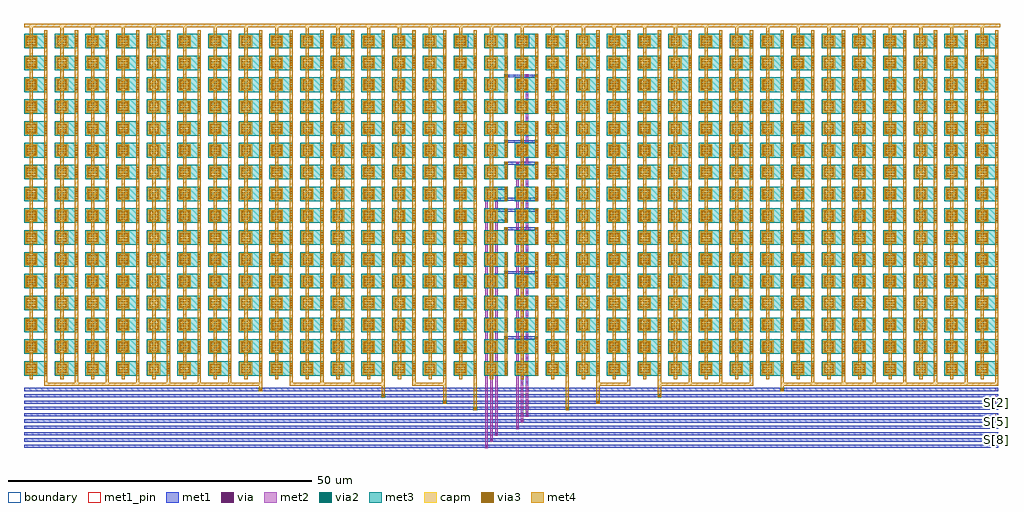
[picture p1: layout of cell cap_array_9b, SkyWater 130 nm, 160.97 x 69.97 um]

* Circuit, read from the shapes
.subckt cap_array_9b S[0] S[1] S[2] S[3] S[4] S[5] S[6] S[7] S[8] VCM
XC1 n1 S[0] sky130_fd_pr__cap_mim_m3_1 w=2 l=2 m=256
XC2 n1 S[1] sky130_fd_pr__cap_mim_m3_1 w=2 l=2 m=128
XC3 n1 S[2] sky130_fd_pr__cap_mim_m3_1 w=2 l=2 m=64
XC4 n1 S[3] sky130_fd_pr__cap_mim_m3_1 w=2 l=2 m=32
XC5 n1 S[4] sky130_fd_pr__cap_mim_m3_1 w=2 l=2 m=16
XC6 n1 S[5] sky130_fd_pr__cap_mim_m3_1 w=2 l=2 m=8
XC7 n1 S[6] sky130_fd_pr__cap_mim_m3_1 w=2 l=2 m=4
XC8 n1 S[7] sky130_fd_pr__cap_mim_m3_1 w=2 l=2 m=2
XC9 n1 VCM sky130_fd_pr__cap_mim_m3_1 w=2 l=2
XC10 n1 S[8] sky130_fd_pr__cap_mim_m3_1 w=2 l=2
.ends

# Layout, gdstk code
import gdstk
lib = gdstk.Library(unit=1e-6, precision=1e-09)
def R(c, l, rs):  # rectangles x0, y0, x1, y1
    for r in rs: c.add(gdstk.rectangle(r[:2], r[2:], *l))
def A(c, l, x, y, w, h, nx, ny, dx, dy):  # array of equal rectangles
    R(c, l, [(x+i*dx, y+j*dy, x+i*dx+w, y+j*dy+h) for i in range(nx) for j in range(ny)])
met1_pin = (68, 16)
met1 = (68, 20)
via = (68, 44)
met2 = (69, 20)
via2 = (69, 44)
met3 = (70, 20)
via3 = (70, 44)
met4 = (71, 20)
capm = (89, 44)
boundary = (235, 4)

sky130_fd_pr__cap_mim_m3 = lib.new_cell('sky130_fd_pr__cap_mim_m3_1_TE2UD4')
A(sky130_fd_pr__cap_mim_m3, met3, -37.35, -28.2, 3.86, 2.4, 15, 16, 5.06, 3.6)
A(sky130_fd_pr__cap_mim_m3, via3, -33.85, -27.9, 0.2, 0.2, 15, 5, 5.06, 0.4)
A(sky130_fd_pr__cap_mim_m3, via3, -36.85, -27.7, 0.2, 0.2, 4, 4, 0.4, 0.4)
A(sky130_fd_pr__cap_mim_m3, via3, -31.79, -27.7, 0.2, 0.2, 4, 4, 0.4, 0.4)
A(sky130_fd_pr__cap_mim_m3, via3, -26.73, -27.7, 0.2, 0.2, 4, 4, 0.4, 0.4)
A(sky130_fd_pr__cap_mim_m3, via3, -21.67, -27.7, 0.2, 0.2, 4, 4, 0.4, 0.4)
A(sky130_fd_pr__cap_mim_m3, via3, -16.61, -27.7, 0.2, 0.2, 4, 4, 0.4, 0.4)
A(sky130_fd_pr__cap_mim_m3, via3, -11.55, -27.7, 0.2, 0.2, 4, 4, 0.4, 0.4)
A(sky130_fd_pr__cap_mim_m3, via3, -6.49, -27.7, 0.2, 0.2, 4, 4, 0.4, 0.4)
A(sky130_fd_pr__cap_mim_m3, via3, -1.43, -27.7, 0.2, 0.2, 4, 4, 0.4, 0.4)
A(sky130_fd_pr__cap_mim_m3, via3, 3.63, -27.7, 0.2, 0.2, 4, 4, 0.4, 0.4)
A(sky130_fd_pr__cap_mim_m3, via3, 8.69, -27.7, 0.2, 0.2, 4, 4, 0.4, 0.4)
A(sky130_fd_pr__cap_mim_m3, via3, 13.75, -27.7, 0.2, 0.2, 4, 4, 0.4, 0.4)
A(sky130_fd_pr__cap_mim_m3, via3, 18.81, -27.7, 0.2, 0.2, 4, 4, 0.4, 0.4)
A(sky130_fd_pr__cap_mim_m3, via3, 23.87, -27.7, 0.2, 0.2, 4, 4, 0.4, 0.4)
A(sky130_fd_pr__cap_mim_m3, via3, 28.93, -27.7, 0.2, 0.2, 4, 4, 0.4, 0.4)
A(sky130_fd_pr__cap_mim_m3, via3, 33.99, -27.7, 0.2, 0.2, 4, 4, 0.4, 0.4)
A(sky130_fd_pr__cap_mim_m3, via3, -33.85, -24.3, 0.2, 0.2, 15, 5, 5.06, 0.4)
A(sky130_fd_pr__cap_mim_m3, via3, -36.85, -24.1, 0.2, 0.2, 4, 4, 0.4, 0.4)
A(sky130_fd_pr__cap_mim_m3, via3, -31.79, -24.1, 0.2, 0.2, 4, 4, 0.4, 0.4)
A(sky130_fd_pr__cap_mim_m3, via3, -26.73, -24.1, 0.2, 0.2, 4, 4, 0.4, 0.4)
A(sky130_fd_pr__cap_mim_m3, via3, -21.67, -24.1, 0.2, 0.2, 4, 4, 0.4, 0.4)
A(sky130_fd_pr__cap_mim_m3, via3, -16.61, -24.1, 0.2, 0.2, 4, 4, 0.4, 0.4)
A(sky130_fd_pr__cap_mim_m3, via3, -11.55, -24.1, 0.2, 0.2, 4, 4, 0.4, 0.4)
A(sky130_fd_pr__cap_mim_m3, via3, -6.49, -24.1, 0.2, 0.2, 4, 4, 0.4, 0.4)
A(sky130_fd_pr__cap_mim_m3, via3, -1.43, -24.1, 0.2, 0.2, 4, 4, 0.4, 0.4)
A(sky130_fd_pr__cap_mim_m3, via3, 3.63, -24.1, 0.2, 0.2, 4, 4, 0.4, 0.4)
A(sky130_fd_pr__cap_mim_m3, via3, 8.69, -24.1, 0.2, 0.2, 4, 4, 0.4, 0.4)
A(sky130_fd_pr__cap_mim_m3, via3, 13.75, -24.1, 0.2, 0.2, 4, 4, 0.4, 0.4)
A(sky130_fd_pr__cap_mim_m3, via3, 18.81, -24.1, 0.2, 0.2, 4, 4, 0.4, 0.4)
A(sky130_fd_pr__cap_mim_m3, via3, 23.87, -24.1, 0.2, 0.2, 4, 4, 0.4, 0.4)
A(sky130_fd_pr__cap_mim_m3, via3, 28.93, -24.1, 0.2, 0.2, 4, 4, 0.4, 0.4)
A(sky130_fd_pr__cap_mim_m3, via3, 33.99, -24.1, 0.2, 0.2, 4, 4, 0.4, 0.4)
A(sky130_fd_pr__cap_mim_m3, via3, -33.85, -20.7, 0.2, 0.2, 15, 5, 5.06, 0.4)
A(sky130_fd_pr__cap_mim_m3, via3, -36.85, -20.5, 0.2, 0.2, 4, 4, 0.4, 0.4)
A(sky130_fd_pr__cap_mim_m3, via3, -31.79, -20.5, 0.2, 0.2, 4, 4, 0.4, 0.4)
A(sky130_fd_pr__cap_mim_m3, via3, -26.73, -20.5, 0.2, 0.2, 4, 4, 0.4, 0.4)
A(sky130_fd_pr__cap_mim_m3, via3, -21.67, -20.5, 0.2, 0.2, 4, 4, 0.4, 0.4)
A(sky130_fd_pr__cap_mim_m3, via3, -16.61, -20.5, 0.2, 0.2, 4, 4, 0.4, 0.4)
A(sky130_fd_pr__cap_mim_m3, via3, -11.55, -20.5, 0.2, 0.2, 4, 4, 0.4, 0.4)
A(sky130_fd_pr__cap_mim_m3, via3, -6.49, -20.5, 0.2, 0.2, 4, 4, 0.4, 0.4)
A(sky130_fd_pr__cap_mim_m3, via3, -1.43, -20.5, 0.2, 0.2, 4, 4, 0.4, 0.4)
A(sky130_fd_pr__cap_mim_m3, via3, 3.63, -20.5, 0.2, 0.2, 4, 4, 0.4, 0.4)
A(sky130_fd_pr__cap_mim_m3, via3, 8.69, -20.5, 0.2, 0.2, 4, 4, 0.4, 0.4)
A(sky130_fd_pr__cap_mim_m3, via3, 13.75, -20.5, 0.2, 0.2, 4, 4, 0.4, 0.4)
A(sky130_fd_pr__cap_mim_m3, via3, 18.81, -20.5, 0.2, 0.2, 4, 4, 0.4, 0.4)
A(sky130_fd_pr__cap_mim_m3, via3, 23.87, -20.5, 0.2, 0.2, 4, 4, 0.4, 0.4)
A(sky130_fd_pr__cap_mim_m3, via3, 28.93, -20.5, 0.2, 0.2, 4, 4, 0.4, 0.4)
A(sky130_fd_pr__cap_mim_m3, via3, 33.99, -20.5, 0.2, 0.2, 4, 4, 0.4, 0.4)
A(sky130_fd_pr__cap_mim_m3, via3, -33.85, -17.1, 0.2, 0.2, 15, 5, 5.06, 0.4)
A(sky130_fd_pr__cap_mim_m3, via3, -36.85, -16.9, 0.2, 0.2, 4, 4, 0.4, 0.4)
A(sky130_fd_pr__cap_mim_m3, via3, -31.79, -16.9, 0.2, 0.2, 4, 4, 0.4, 0.4)
A(sky130_fd_pr__cap_mim_m3, via3, -26.73, -16.9, 0.2, 0.2, 4, 4, 0.4, 0.4)
A(sky130_fd_pr__cap_mim_m3, via3, -21.67, -16.9, 0.2, 0.2, 4, 4, 0.4, 0.4)
A(sky130_fd_pr__cap_mim_m3, via3, -16.61, -16.9, 0.2, 0.2, 4, 4, 0.4, 0.4)
A(sky130_fd_pr__cap_mim_m3, via3, -11.55, -16.9, 0.2, 0.2, 4, 4, 0.4, 0.4)
A(sky130_fd_pr__cap_mim_m3, via3, -6.49, -16.9, 0.2, 0.2, 4, 4, 0.4, 0.4)
A(sky130_fd_pr__cap_mim_m3, via3, -1.43, -16.9, 0.2, 0.2, 4, 4, 0.4, 0.4)
A(sky130_fd_pr__cap_mim_m3, via3, 3.63, -16.9, 0.2, 0.2, 4, 4, 0.4, 0.4)
A(sky130_fd_pr__cap_mim_m3, via3, 8.69, -16.9, 0.2, 0.2, 4, 4, 0.4, 0.4)
A(sky130_fd_pr__cap_mim_m3, via3, 13.75, -16.9, 0.2, 0.2, 4, 4, 0.4, 0.4)
A(sky130_fd_pr__cap_mim_m3, via3, 18.81, -16.9, 0.2, 0.2, 4, 4, 0.4, 0.4)
A(sky130_fd_pr__cap_mim_m3, via3, 23.87, -16.9, 0.2, 0.2, 4, 4, 0.4, 0.4)
A(sky130_fd_pr__cap_mim_m3, via3, 28.93, -16.9, 0.2, 0.2, 4, 4, 0.4, 0.4)
A(sky130_fd_pr__cap_mim_m3, via3, 33.99, -16.9, 0.2, 0.2, 4, 4, 0.4, 0.4)
A(sky130_fd_pr__cap_mim_m3, via3, -33.85, -13.5, 0.2, 0.2, 15, 5, 5.06, 0.4)
A(sky130_fd_pr__cap_mim_m3, via3, -36.85, -13.3, 0.2, 0.2, 4, 4, 0.4, 0.4)
A(sky130_fd_pr__cap_mim_m3, via3, -31.79, -13.3, 0.2, 0.2, 4, 4, 0.4, 0.4)
A(sky130_fd_pr__cap_mim_m3, via3, -26.73, -13.3, 0.2, 0.2, 4, 4, 0.4, 0.4)
A(sky130_fd_pr__cap_mim_m3, via3, -21.67, -13.3, 0.2, 0.2, 4, 4, 0.4, 0.4)
A(sky130_fd_pr__cap_mim_m3, via3, -16.61, -13.3, 0.2, 0.2, 4, 4, 0.4, 0.4)
A(sky130_fd_pr__cap_mim_m3, via3, -11.55, -13.3, 0.2, 0.2, 4, 4, 0.4, 0.4)
A(sky130_fd_pr__cap_mim_m3, via3, -6.49, -13.3, 0.2, 0.2, 4, 4, 0.4, 0.4)
A(sky130_fd_pr__cap_mim_m3, via3, -1.43, -13.3, 0.2, 0.2, 4, 4, 0.4, 0.4)
A(sky130_fd_pr__cap_mim_m3, via3, 3.63, -13.3, 0.2, 0.2, 4, 4, 0.4, 0.4)
A(sky130_fd_pr__cap_mim_m3, via3, 8.69, -13.3, 0.2, 0.2, 4, 4, 0.4, 0.4)
A(sky130_fd_pr__cap_mim_m3, via3, 13.75, -13.3, 0.2, 0.2, 4, 4, 0.4, 0.4)
A(sky130_fd_pr__cap_mim_m3, via3, 18.81, -13.3, 0.2, 0.2, 4, 4, 0.4, 0.4)
A(sky130_fd_pr__cap_mim_m3, via3, 23.87, -13.3, 0.2, 0.2, 4, 4, 0.4, 0.4)
A(sky130_fd_pr__cap_mim_m3, via3, 28.93, -13.3, 0.2, 0.2, 4, 4, 0.4, 0.4)
A(sky130_fd_pr__cap_mim_m3, via3, 33.99, -13.3, 0.2, 0.2, 4, 4, 0.4, 0.4)
A(sky130_fd_pr__cap_mim_m3, via3, -33.85, -9.9, 0.2, 0.2, 15, 5, 5.06, 0.4)
A(sky130_fd_pr__cap_mim_m3, via3, -36.85, -9.7, 0.2, 0.2, 4, 4, 0.4, 0.4)
A(sky130_fd_pr__cap_mim_m3, via3, -31.79, -9.7, 0.2, 0.2, 4, 4, 0.4, 0.4)
A(sky130_fd_pr__cap_mim_m3, via3, -26.73, -9.7, 0.2, 0.2, 4, 4, 0.4, 0.4)
A(sky130_fd_pr__cap_mim_m3, via3, -21.67, -9.7, 0.2, 0.2, 4, 4, 0.4, 0.4)
A(sky130_fd_pr__cap_mim_m3, via3, -16.61, -9.7, 0.2, 0.2, 4, 4, 0.4, 0.4)
A(sky130_fd_pr__cap_mim_m3, via3, -11.55, -9.7, 0.2, 0.2, 4, 4, 0.4, 0.4)
A(sky130_fd_pr__cap_mim_m3, via3, -6.49, -9.7, 0.2, 0.2, 4, 4, 0.4, 0.4)
A(sky130_fd_pr__cap_mim_m3, via3, -1.43, -9.7, 0.2, 0.2, 4, 4, 0.4, 0.4)
A(sky130_fd_pr__cap_mim_m3, via3, 3.63, -9.7, 0.2, 0.2, 4, 4, 0.4, 0.4)
A(sky130_fd_pr__cap_mim_m3, via3, 8.69, -9.7, 0.2, 0.2, 4, 4, 0.4, 0.4)
A(sky130_fd_pr__cap_mim_m3, via3, 13.75, -9.7, 0.2, 0.2, 4, 4, 0.4, 0.4)
A(sky130_fd_pr__cap_mim_m3, via3, 18.81, -9.7, 0.2, 0.2, 4, 4, 0.4, 0.4)
A(sky130_fd_pr__cap_mim_m3, via3, 23.87, -9.7, 0.2, 0.2, 4, 4, 0.4, 0.4)
A(sky130_fd_pr__cap_mim_m3, via3, 28.93, -9.7, 0.2, 0.2, 4, 4, 0.4, 0.4)
A(sky130_fd_pr__cap_mim_m3, via3, 33.99, -9.7, 0.2, 0.2, 4, 4, 0.4, 0.4)
A(sky130_fd_pr__cap_mim_m3, via3, -33.85, -6.3, 0.2, 0.2, 15, 5, 5.06, 0.4)
A(sky130_fd_pr__cap_mim_m3, via3, -36.85, -6.1, 0.2, 0.2, 4, 4, 0.4, 0.4)
A(sky130_fd_pr__cap_mim_m3, via3, -31.79, -6.1, 0.2, 0.2, 4, 4, 0.4, 0.4)
A(sky130_fd_pr__cap_mim_m3, via3, -26.73, -6.1, 0.2, 0.2, 4, 4, 0.4, 0.4)
A(sky130_fd_pr__cap_mim_m3, via3, -21.67, -6.1, 0.2, 0.2, 4, 4, 0.4, 0.4)
A(sky130_fd_pr__cap_mim_m3, via3, -16.61, -6.1, 0.2, 0.2, 4, 4, 0.4, 0.4)
A(sky130_fd_pr__cap_mim_m3, via3, -11.55, -6.1, 0.2, 0.2, 4, 4, 0.4, 0.4)
A(sky130_fd_pr__cap_mim_m3, via3, -6.49, -6.1, 0.2, 0.2, 4, 4, 0.4, 0.4)
A(sky130_fd_pr__cap_mim_m3, via3, -1.43, -6.1, 0.2, 0.2, 4, 4, 0.4, 0.4)
A(sky130_fd_pr__cap_mim_m3, via3, 3.63, -6.1, 0.2, 0.2, 4, 4, 0.4, 0.4)
A(sky130_fd_pr__cap_mim_m3, via3, 8.69, -6.1, 0.2, 0.2, 4, 4, 0.4, 0.4)
A(sky130_fd_pr__cap_mim_m3, via3, 13.75, -6.1, 0.2, 0.2, 4, 4, 0.4, 0.4)
A(sky130_fd_pr__cap_mim_m3, via3, 18.81, -6.1, 0.2, 0.2, 4, 4, 0.4, 0.4)
A(sky130_fd_pr__cap_mim_m3, via3, 23.87, -6.1, 0.2, 0.2, 4, 4, 0.4, 0.4)
A(sky130_fd_pr__cap_mim_m3, via3, 28.93, -6.1, 0.2, 0.2, 4, 4, 0.4, 0.4)
A(sky130_fd_pr__cap_mim_m3, via3, 33.99, -6.1, 0.2, 0.2, 4, 4, 0.4, 0.4)
A(sky130_fd_pr__cap_mim_m3, via3, -33.85, -2.7, 0.2, 0.2, 15, 5, 5.06, 0.4)
A(sky130_fd_pr__cap_mim_m3, via3, -36.85, -2.5, 0.2, 0.2, 4, 4, 0.4, 0.4)
A(sky130_fd_pr__cap_mim_m3, via3, -31.79, -2.5, 0.2, 0.2, 4, 4, 0.4, 0.4)
A(sky130_fd_pr__cap_mim_m3, via3, -26.73, -2.5, 0.2, 0.2, 4, 4, 0.4, 0.4)
A(sky130_fd_pr__cap_mim_m3, via3, -21.67, -2.5, 0.2, 0.2, 4, 4, 0.4, 0.4)
A(sky130_fd_pr__cap_mim_m3, via3, -16.61, -2.5, 0.2, 0.2, 4, 4, 0.4, 0.4)
A(sky130_fd_pr__cap_mim_m3, via3, -11.55, -2.5, 0.2, 0.2, 4, 4, 0.4, 0.4)
A(sky130_fd_pr__cap_mim_m3, via3, -6.49, -2.5, 0.2, 0.2, 4, 4, 0.4, 0.4)
A(sky130_fd_pr__cap_mim_m3, via3, -1.43, -2.5, 0.2, 0.2, 4, 4, 0.4, 0.4)
A(sky130_fd_pr__cap_mim_m3, via3, 3.63, -2.5, 0.2, 0.2, 4, 4, 0.4, 0.4)
A(sky130_fd_pr__cap_mim_m3, via3, 8.69, -2.5, 0.2, 0.2, 4, 4, 0.4, 0.4)
A(sky130_fd_pr__cap_mim_m3, via3, 13.75, -2.5, 0.2, 0.2, 4, 4, 0.4, 0.4)
A(sky130_fd_pr__cap_mim_m3, via3, 18.81, -2.5, 0.2, 0.2, 4, 4, 0.4, 0.4)
A(sky130_fd_pr__cap_mim_m3, via3, 23.87, -2.5, 0.2, 0.2, 4, 4, 0.4, 0.4)
A(sky130_fd_pr__cap_mim_m3, via3, 28.93, -2.5, 0.2, 0.2, 4, 4, 0.4, 0.4)
A(sky130_fd_pr__cap_mim_m3, via3, 33.99, -2.5, 0.2, 0.2, 4, 4, 0.4, 0.4)
A(sky130_fd_pr__cap_mim_m3, via3, -33.85, 0.9, 0.2, 0.2, 15, 5, 5.06, 0.4)
A(sky130_fd_pr__cap_mim_m3, via3, -36.85, 1.1, 0.2, 0.2, 4, 4, 0.4, 0.4)
A(sky130_fd_pr__cap_mim_m3, via3, -31.79, 1.1, 0.2, 0.2, 4, 4, 0.4, 0.4)
A(sky130_fd_pr__cap_mim_m3, via3, -26.73, 1.1, 0.2, 0.2, 4, 4, 0.4, 0.4)
A(sky130_fd_pr__cap_mim_m3, via3, -21.67, 1.1, 0.2, 0.2, 4, 4, 0.4, 0.4)
A(sky130_fd_pr__cap_mim_m3, via3, -16.61, 1.1, 0.2, 0.2, 4, 4, 0.4, 0.4)
A(sky130_fd_pr__cap_mim_m3, via3, -11.55, 1.1, 0.2, 0.2, 4, 4, 0.4, 0.4)
A(sky130_fd_pr__cap_mim_m3, via3, -6.49, 1.1, 0.2, 0.2, 4, 4, 0.4, 0.4)
A(sky130_fd_pr__cap_mim_m3, via3, -1.43, 1.1, 0.2, 0.2, 4, 4, 0.4, 0.4)
A(sky130_fd_pr__cap_mim_m3, via3, 3.63, 1.1, 0.2, 0.2, 4, 4, 0.4, 0.4)
A(sky130_fd_pr__cap_mim_m3, via3, 8.69, 1.1, 0.2, 0.2, 4, 4, 0.4, 0.4)
A(sky130_fd_pr__cap_mim_m3, via3, 13.75, 1.1, 0.2, 0.2, 4, 4, 0.4, 0.4)
A(sky130_fd_pr__cap_mim_m3, via3, 18.81, 1.1, 0.2, 0.2, 4, 4, 0.4, 0.4)
A(sky130_fd_pr__cap_mim_m3, via3, 23.87, 1.1, 0.2, 0.2, 4, 4, 0.4, 0.4)
A(sky130_fd_pr__cap_mim_m3, via3, 28.93, 1.1, 0.2, 0.2, 4, 4, 0.4, 0.4)
A(sky130_fd_pr__cap_mim_m3, via3, 33.99, 1.1, 0.2, 0.2, 4, 4, 0.4, 0.4)
A(sky130_fd_pr__cap_mim_m3, via3, -33.85, 4.5, 0.2, 0.2, 15, 5, 5.06, 0.4)
A(sky130_fd_pr__cap_mim_m3, via3, -36.85, 4.7, 0.2, 0.2, 4, 4, 0.4, 0.4)
A(sky130_fd_pr__cap_mim_m3, via3, -31.79, 4.7, 0.2, 0.2, 4, 4, 0.4, 0.4)
A(sky130_fd_pr__cap_mim_m3, via3, -26.73, 4.7, 0.2, 0.2, 4, 4, 0.4, 0.4)
A(sky130_fd_pr__cap_mim_m3, via3, -21.67, 4.7, 0.2, 0.2, 4, 4, 0.4, 0.4)
A(sky130_fd_pr__cap_mim_m3, via3, -16.61, 4.7, 0.2, 0.2, 4, 4, 0.4, 0.4)
A(sky130_fd_pr__cap_mim_m3, via3, -11.55, 4.7, 0.2, 0.2, 4, 4, 0.4, 0.4)
A(sky130_fd_pr__cap_mim_m3, via3, -6.49, 4.7, 0.2, 0.2, 4, 4, 0.4, 0.4)
A(sky130_fd_pr__cap_mim_m3, via3, -1.43, 4.7, 0.2, 0.2, 4, 4, 0.4, 0.4)
A(sky130_fd_pr__cap_mim_m3, via3, 3.63, 4.7, 0.2, 0.2, 4, 4, 0.4, 0.4)
A(sky130_fd_pr__cap_mim_m3, via3, 8.69, 4.7, 0.2, 0.2, 4, 4, 0.4, 0.4)
A(sky130_fd_pr__cap_mim_m3, via3, 13.75, 4.7, 0.2, 0.2, 4, 4, 0.4, 0.4)
A(sky130_fd_pr__cap_mim_m3, via3, 18.81, 4.7, 0.2, 0.2, 4, 4, 0.4, 0.4)
A(sky130_fd_pr__cap_mim_m3, via3, 23.87, 4.7, 0.2, 0.2, 4, 4, 0.4, 0.4)
A(sky130_fd_pr__cap_mim_m3, via3, 28.93, 4.7, 0.2, 0.2, 4, 4, 0.4, 0.4)
A(sky130_fd_pr__cap_mim_m3, via3, 33.99, 4.7, 0.2, 0.2, 4, 4, 0.4, 0.4)
A(sky130_fd_pr__cap_mim_m3, via3, -33.85, 8.1, 0.2, 0.2, 15, 5, 5.06, 0.4)
A(sky130_fd_pr__cap_mim_m3, via3, -36.85, 8.3, 0.2, 0.2, 4, 4, 0.4, 0.4)
A(sky130_fd_pr__cap_mim_m3, via3, -31.79, 8.3, 0.2, 0.2, 4, 4, 0.4, 0.4)
A(sky130_fd_pr__cap_mim_m3, via3, -26.73, 8.3, 0.2, 0.2, 4, 4, 0.4, 0.4)
A(sky130_fd_pr__cap_mim_m3, via3, -21.67, 8.3, 0.2, 0.2, 4, 4, 0.4, 0.4)
A(sky130_fd_pr__cap_mim_m3, via3, -16.61, 8.3, 0.2, 0.2, 4, 4, 0.4, 0.4)
A(sky130_fd_pr__cap_mim_m3, via3, -11.55, 8.3, 0.2, 0.2, 4, 4, 0.4, 0.4)
A(sky130_fd_pr__cap_mim_m3, via3, -6.49, 8.3, 0.2, 0.2, 4, 4, 0.4, 0.4)
A(sky130_fd_pr__cap_mim_m3, via3, -1.43, 8.3, 0.2, 0.2, 4, 4, 0.4, 0.4)
A(sky130_fd_pr__cap_mim_m3, via3, 3.63, 8.3, 0.2, 0.2, 4, 4, 0.4, 0.4)
A(sky130_fd_pr__cap_mim_m3, via3, 8.69, 8.3, 0.2, 0.2, 4, 4, 0.4, 0.4)
A(sky130_fd_pr__cap_mim_m3, via3, 13.75, 8.3, 0.2, 0.2, 4, 4, 0.4, 0.4)
A(sky130_fd_pr__cap_mim_m3, via3, 18.81, 8.3, 0.2, 0.2, 4, 4, 0.4, 0.4)
A(sky130_fd_pr__cap_mim_m3, via3, 23.87, 8.3, 0.2, 0.2, 4, 4, 0.4, 0.4)
A(sky130_fd_pr__cap_mim_m3, via3, 28.93, 8.3, 0.2, 0.2, 4, 4, 0.4, 0.4)
A(sky130_fd_pr__cap_mim_m3, via3, 33.99, 8.3, 0.2, 0.2, 4, 4, 0.4, 0.4)
A(sky130_fd_pr__cap_mim_m3, via3, -33.85, 11.7, 0.2, 0.2, 15, 5, 5.06, 0.4)
A(sky130_fd_pr__cap_mim_m3, via3, -36.85, 11.9, 0.2, 0.2, 4, 4, 0.4, 0.4)
A(sky130_fd_pr__cap_mim_m3, via3, -31.79, 11.9, 0.2, 0.2, 4, 4, 0.4, 0.4)
A(sky130_fd_pr__cap_mim_m3, via3, -26.73, 11.9, 0.2, 0.2, 4, 4, 0.4, 0.4)
A(sky130_fd_pr__cap_mim_m3, via3, -21.67, 11.9, 0.2, 0.2, 4, 4, 0.4, 0.4)
A(sky130_fd_pr__cap_mim_m3, via3, -16.61, 11.9, 0.2, 0.2, 4, 4, 0.4, 0.4)
A(sky130_fd_pr__cap_mim_m3, via3, -11.55, 11.9, 0.2, 0.2, 4, 4, 0.4, 0.4)
A(sky130_fd_pr__cap_mim_m3, via3, -6.49, 11.9, 0.2, 0.2, 4, 4, 0.4, 0.4)
A(sky130_fd_pr__cap_mim_m3, via3, -1.43, 11.9, 0.2, 0.2, 4, 4, 0.4, 0.4)
A(sky130_fd_pr__cap_mim_m3, via3, 3.63, 11.9, 0.2, 0.2, 4, 4, 0.4, 0.4)
A(sky130_fd_pr__cap_mim_m3, via3, 8.69, 11.9, 0.2, 0.2, 4, 4, 0.4, 0.4)
A(sky130_fd_pr__cap_mim_m3, via3, 13.75, 11.9, 0.2, 0.2, 4, 4, 0.4, 0.4)
A(sky130_fd_pr__cap_mim_m3, via3, 18.81, 11.9, 0.2, 0.2, 4, 4, 0.4, 0.4)
A(sky130_fd_pr__cap_mim_m3, via3, 23.87, 11.9, 0.2, 0.2, 4, 4, 0.4, 0.4)
A(sky130_fd_pr__cap_mim_m3, via3, 28.93, 11.9, 0.2, 0.2, 4, 4, 0.4, 0.4)
A(sky130_fd_pr__cap_mim_m3, via3, 33.99, 11.9, 0.2, 0.2, 4, 4, 0.4, 0.4)
A(sky130_fd_pr__cap_mim_m3, via3, -33.85, 15.3, 0.2, 0.2, 15, 5, 5.06, 0.4)
A(sky130_fd_pr__cap_mim_m3, via3, -36.85, 15.5, 0.2, 0.2, 4, 4, 0.4, 0.4)
A(sky130_fd_pr__cap_mim_m3, via3, -31.79, 15.5, 0.2, 0.2, 4, 4, 0.4, 0.4)
A(sky130_fd_pr__cap_mim_m3, via3, -26.73, 15.5, 0.2, 0.2, 4, 4, 0.4, 0.4)
A(sky130_fd_pr__cap_mim_m3, via3, -21.67, 15.5, 0.2, 0.2, 4, 4, 0.4, 0.4)
A(sky130_fd_pr__cap_mim_m3, via3, -16.61, 15.5, 0.2, 0.2, 4, 4, 0.4, 0.4)
A(sky130_fd_pr__cap_mim_m3, via3, -11.55, 15.5, 0.2, 0.2, 4, 4, 0.4, 0.4)
A(sky130_fd_pr__cap_mim_m3, via3, -6.49, 15.5, 0.2, 0.2, 4, 4, 0.4, 0.4)
A(sky130_fd_pr__cap_mim_m3, via3, -1.43, 15.5, 0.2, 0.2, 4, 4, 0.4, 0.4)
A(sky130_fd_pr__cap_mim_m3, via3, 3.63, 15.5, 0.2, 0.2, 4, 4, 0.4, 0.4)
A(sky130_fd_pr__cap_mim_m3, via3, 8.69, 15.5, 0.2, 0.2, 4, 4, 0.4, 0.4)
A(sky130_fd_pr__cap_mim_m3, via3, 13.75, 15.5, 0.2, 0.2, 4, 4, 0.4, 0.4)
A(sky130_fd_pr__cap_mim_m3, via3, 18.81, 15.5, 0.2, 0.2, 4, 4, 0.4, 0.4)
A(sky130_fd_pr__cap_mim_m3, via3, 23.87, 15.5, 0.2, 0.2, 4, 4, 0.4, 0.4)
A(sky130_fd_pr__cap_mim_m3, via3, 28.93, 15.5, 0.2, 0.2, 4, 4, 0.4, 0.4)
A(sky130_fd_pr__cap_mim_m3, via3, 33.99, 15.5, 0.2, 0.2, 4, 4, 0.4, 0.4)
A(sky130_fd_pr__cap_mim_m3, via3, -33.85, 18.9, 0.2, 0.2, 15, 5, 5.06, 0.4)
A(sky130_fd_pr__cap_mim_m3, via3, -36.85, 19.1, 0.2, 0.2, 4, 4, 0.4, 0.4)
A(sky130_fd_pr__cap_mim_m3, via3, -31.79, 19.1, 0.2, 0.2, 4, 4, 0.4, 0.4)
A(sky130_fd_pr__cap_mim_m3, via3, -26.73, 19.1, 0.2, 0.2, 4, 4, 0.4, 0.4)
A(sky130_fd_pr__cap_mim_m3, via3, -21.67, 19.1, 0.2, 0.2, 4, 4, 0.4, 0.4)
A(sky130_fd_pr__cap_mim_m3, via3, -16.61, 19.1, 0.2, 0.2, 4, 4, 0.4, 0.4)
A(sky130_fd_pr__cap_mim_m3, via3, -11.55, 19.1, 0.2, 0.2, 4, 4, 0.4, 0.4)
A(sky130_fd_pr__cap_mim_m3, via3, -6.49, 19.1, 0.2, 0.2, 4, 4, 0.4, 0.4)
A(sky130_fd_pr__cap_mim_m3, via3, -1.43, 19.1, 0.2, 0.2, 4, 4, 0.4, 0.4)
A(sky130_fd_pr__cap_mim_m3, via3, 3.63, 19.1, 0.2, 0.2, 4, 4, 0.4, 0.4)
A(sky130_fd_pr__cap_mim_m3, via3, 8.69, 19.1, 0.2, 0.2, 4, 4, 0.4, 0.4)
A(sky130_fd_pr__cap_mim_m3, via3, 13.75, 19.1, 0.2, 0.2, 4, 4, 0.4, 0.4)
A(sky130_fd_pr__cap_mim_m3, via3, 18.81, 19.1, 0.2, 0.2, 4, 4, 0.4, 0.4)
A(sky130_fd_pr__cap_mim_m3, via3, 23.87, 19.1, 0.2, 0.2, 4, 4, 0.4, 0.4)
A(sky130_fd_pr__cap_mim_m3, via3, 28.93, 19.1, 0.2, 0.2, 4, 4, 0.4, 0.4)
A(sky130_fd_pr__cap_mim_m3, via3, 33.99, 19.1, 0.2, 0.2, 4, 4, 0.4, 0.4)
A(sky130_fd_pr__cap_mim_m3, via3, -33.85, 22.5, 0.2, 0.2, 15, 5, 5.06, 0.4)
A(sky130_fd_pr__cap_mim_m3, via3, -36.85, 22.7, 0.2, 0.2, 4, 4, 0.4, 0.4)
A(sky130_fd_pr__cap_mim_m3, via3, -31.79, 22.7, 0.2, 0.2, 4, 4, 0.4, 0.4)
A(sky130_fd_pr__cap_mim_m3, via3, -26.73, 22.7, 0.2, 0.2, 4, 4, 0.4, 0.4)
A(sky130_fd_pr__cap_mim_m3, via3, -21.67, 22.7, 0.2, 0.2, 4, 4, 0.4, 0.4)
A(sky130_fd_pr__cap_mim_m3, via3, -16.61, 22.7, 0.2, 0.2, 4, 4, 0.4, 0.4)
A(sky130_fd_pr__cap_mim_m3, via3, -11.55, 22.7, 0.2, 0.2, 4, 4, 0.4, 0.4)
A(sky130_fd_pr__cap_mim_m3, via3, -6.49, 22.7, 0.2, 0.2, 4, 4, 0.4, 0.4)
A(sky130_fd_pr__cap_mim_m3, via3, -1.43, 22.7, 0.2, 0.2, 4, 4, 0.4, 0.4)
A(sky130_fd_pr__cap_mim_m3, via3, 3.63, 22.7, 0.2, 0.2, 4, 4, 0.4, 0.4)
A(sky130_fd_pr__cap_mim_m3, via3, 8.69, 22.7, 0.2, 0.2, 4, 4, 0.4, 0.4)
A(sky130_fd_pr__cap_mim_m3, via3, 13.75, 22.7, 0.2, 0.2, 4, 4, 0.4, 0.4)
A(sky130_fd_pr__cap_mim_m3, via3, 18.81, 22.7, 0.2, 0.2, 4, 4, 0.4, 0.4)
A(sky130_fd_pr__cap_mim_m3, via3, 23.87, 22.7, 0.2, 0.2, 4, 4, 0.4, 0.4)
A(sky130_fd_pr__cap_mim_m3, via3, 28.93, 22.7, 0.2, 0.2, 4, 4, 0.4, 0.4)
A(sky130_fd_pr__cap_mim_m3, via3, 33.99, 22.7, 0.2, 0.2, 4, 4, 0.4, 0.4)
A(sky130_fd_pr__cap_mim_m3, via3, -33.85, 26.1, 0.2, 0.2, 15, 5, 5.06, 0.4)
A(sky130_fd_pr__cap_mim_m3, via3, -36.85, 26.3, 0.2, 0.2, 4, 4, 0.4, 0.4)
A(sky130_fd_pr__cap_mim_m3, via3, -31.79, 26.3, 0.2, 0.2, 4, 4, 0.4, 0.4)
A(sky130_fd_pr__cap_mim_m3, via3, -26.73, 26.3, 0.2, 0.2, 4, 4, 0.4, 0.4)
A(sky130_fd_pr__cap_mim_m3, via3, -21.67, 26.3, 0.2, 0.2, 4, 4, 0.4, 0.4)
A(sky130_fd_pr__cap_mim_m3, via3, -16.61, 26.3, 0.2, 0.2, 4, 4, 0.4, 0.4)
A(sky130_fd_pr__cap_mim_m3, via3, -11.55, 26.3, 0.2, 0.2, 4, 4, 0.4, 0.4)
A(sky130_fd_pr__cap_mim_m3, via3, -6.49, 26.3, 0.2, 0.2, 4, 4, 0.4, 0.4)
A(sky130_fd_pr__cap_mim_m3, via3, -1.43, 26.3, 0.2, 0.2, 4, 4, 0.4, 0.4)
A(sky130_fd_pr__cap_mim_m3, via3, 3.63, 26.3, 0.2, 0.2, 4, 4, 0.4, 0.4)
A(sky130_fd_pr__cap_mim_m3, via3, 8.69, 26.3, 0.2, 0.2, 4, 4, 0.4, 0.4)
A(sky130_fd_pr__cap_mim_m3, via3, 13.75, 26.3, 0.2, 0.2, 4, 4, 0.4, 0.4)
A(sky130_fd_pr__cap_mim_m3, via3, 18.81, 26.3, 0.2, 0.2, 4, 4, 0.4, 0.4)
A(sky130_fd_pr__cap_mim_m3, via3, 23.87, 26.3, 0.2, 0.2, 4, 4, 0.4, 0.4)
A(sky130_fd_pr__cap_mim_m3, via3, 28.93, 26.3, 0.2, 0.2, 4, 4, 0.4, 0.4)
A(sky130_fd_pr__cap_mim_m3, via3, 33.99, 26.3, 0.2, 0.2, 4, 4, 0.4, 0.4)
A(sky130_fd_pr__cap_mim_m3, met4, -36.41, -28.8, 0.52, 0.995, 15, 2, 5.06, 56.605)
A(sky130_fd_pr__cap_mim_m3, met4, -34.01, -28.8, 0.52, 57.6, 15, 1, 5.06, 0)
A(sky130_fd_pr__cap_mim_m3, met4, -36.955, -27.805, 1.61, 1.61, 15, 16, 5.06, 3.6)
A(sky130_fd_pr__cap_mim_m3, met4, -36.41, -26.195, 0.52, 1.99, 15, 15, 5.06, 3.6)
A(sky130_fd_pr__cap_mim_m3, capm, -37.15, -28, 2, 2, 15, 16, 5.06, 3.6)
R(sky130_fd_pr__cap_mim_m3, boundary, [(33.49,25.8,35.89,28.2)])

c_sky130_fd_pr__cap_mim_m3 = lib.new_cell('sky130_fd_pr__cap_mim_m3_1_NLQ4WR')
A(c_sky130_fd_pr__cap_mim_m3, met3, -4.46, -28.2, 3.86, 2.4, 1, 16, 0, 3.6)
A(c_sky130_fd_pr__cap_mim_m3, met3, 0.6, -28.2, 3.86, 2.4, 1, 16, 0, 3.6)
A(c_sky130_fd_pr__cap_mim_m3, via3, -0.96, -27.9, 0.2, 0.2, 1, 5, 0, 0.4)
A(c_sky130_fd_pr__cap_mim_m3, via3, 4.1, -27.9, 0.2, 0.2, 1, 5, 0, 0.4)
A(c_sky130_fd_pr__cap_mim_m3, via3, -3.96, -27.7, 0.2, 0.2, 4, 4, 0.4, 0.4)
A(c_sky130_fd_pr__cap_mim_m3, via3, 1.1, -27.7, 0.2, 0.2, 4, 4, 0.4, 0.4)
A(c_sky130_fd_pr__cap_mim_m3, via3, -0.96, -24.3, 0.2, 0.2, 1, 5, 0, 0.4)
A(c_sky130_fd_pr__cap_mim_m3, via3, 4.1, -24.3, 0.2, 0.2, 1, 5, 0, 0.4)
A(c_sky130_fd_pr__cap_mim_m3, via3, -3.96, -24.1, 0.2, 0.2, 4, 4, 0.4, 0.4)
A(c_sky130_fd_pr__cap_mim_m3, via3, 1.1, -24.1, 0.2, 0.2, 4, 4, 0.4, 0.4)
A(c_sky130_fd_pr__cap_mim_m3, via3, -0.96, -20.7, 0.2, 0.2, 1, 5, 0, 0.4)
A(c_sky130_fd_pr__cap_mim_m3, via3, 4.1, -20.7, 0.2, 0.2, 1, 5, 0, 0.4)
A(c_sky130_fd_pr__cap_mim_m3, via3, -3.96, -20.5, 0.2, 0.2, 4, 4, 0.4, 0.4)
A(c_sky130_fd_pr__cap_mim_m3, via3, 1.1, -20.5, 0.2, 0.2, 4, 4, 0.4, 0.4)
A(c_sky130_fd_pr__cap_mim_m3, via3, -0.96, -17.1, 0.2, 0.2, 1, 5, 0, 0.4)
A(c_sky130_fd_pr__cap_mim_m3, via3, 4.1, -17.1, 0.2, 0.2, 1, 5, 0, 0.4)
A(c_sky130_fd_pr__cap_mim_m3, via3, -3.96, -16.9, 0.2, 0.2, 4, 4, 0.4, 0.4)
A(c_sky130_fd_pr__cap_mim_m3, via3, 1.1, -16.9, 0.2, 0.2, 4, 4, 0.4, 0.4)
A(c_sky130_fd_pr__cap_mim_m3, via3, -0.96, -13.5, 0.2, 0.2, 1, 5, 0, 0.4)
A(c_sky130_fd_pr__cap_mim_m3, via3, 4.1, -13.5, 0.2, 0.2, 1, 5, 0, 0.4)
A(c_sky130_fd_pr__cap_mim_m3, via3, -3.96, -13.3, 0.2, 0.2, 4, 4, 0.4, 0.4)
A(c_sky130_fd_pr__cap_mim_m3, via3, 1.1, -13.3, 0.2, 0.2, 4, 4, 0.4, 0.4)
A(c_sky130_fd_pr__cap_mim_m3, via3, -0.96, -9.9, 0.2, 0.2, 1, 5, 0, 0.4)
A(c_sky130_fd_pr__cap_mim_m3, via3, 4.1, -9.9, 0.2, 0.2, 1, 5, 0, 0.4)
A(c_sky130_fd_pr__cap_mim_m3, via3, -3.96, -9.7, 0.2, 0.2, 4, 4, 0.4, 0.4)
A(c_sky130_fd_pr__cap_mim_m3, via3, 1.1, -9.7, 0.2, 0.2, 4, 4, 0.4, 0.4)
A(c_sky130_fd_pr__cap_mim_m3, via3, -0.96, -6.3, 0.2, 0.2, 1, 5, 0, 0.4)
A(c_sky130_fd_pr__cap_mim_m3, via3, 4.1, -6.3, 0.2, 0.2, 1, 5, 0, 0.4)
A(c_sky130_fd_pr__cap_mim_m3, via3, -3.96, -6.1, 0.2, 0.2, 4, 4, 0.4, 0.4)
A(c_sky130_fd_pr__cap_mim_m3, via3, 1.1, -6.1, 0.2, 0.2, 4, 4, 0.4, 0.4)
A(c_sky130_fd_pr__cap_mim_m3, via3, -0.96, -2.7, 0.2, 0.2, 1, 5, 0, 0.4)
A(c_sky130_fd_pr__cap_mim_m3, via3, 4.1, -2.7, 0.2, 0.2, 1, 5, 0, 0.4)
A(c_sky130_fd_pr__cap_mim_m3, via3, -3.96, -2.5, 0.2, 0.2, 4, 4, 0.4, 0.4)
A(c_sky130_fd_pr__cap_mim_m3, via3, 1.1, -2.5, 0.2, 0.2, 4, 4, 0.4, 0.4)
A(c_sky130_fd_pr__cap_mim_m3, via3, -0.96, 0.9, 0.2, 0.2, 1, 5, 0, 0.4)
A(c_sky130_fd_pr__cap_mim_m3, via3, 4.1, 0.9, 0.2, 0.2, 1, 5, 0, 0.4)
A(c_sky130_fd_pr__cap_mim_m3, via3, -3.96, 1.1, 0.2, 0.2, 4, 4, 0.4, 0.4)
A(c_sky130_fd_pr__cap_mim_m3, via3, 1.1, 1.1, 0.2, 0.2, 4, 4, 0.4, 0.4)
A(c_sky130_fd_pr__cap_mim_m3, via3, -0.96, 4.5, 0.2, 0.2, 1, 5, 0, 0.4)
A(c_sky130_fd_pr__cap_mim_m3, via3, 4.1, 4.5, 0.2, 0.2, 1, 5, 0, 0.4)
A(c_sky130_fd_pr__cap_mim_m3, via3, -3.96, 4.7, 0.2, 0.2, 4, 4, 0.4, 0.4)
A(c_sky130_fd_pr__cap_mim_m3, via3, 1.1, 4.7, 0.2, 0.2, 4, 4, 0.4, 0.4)
A(c_sky130_fd_pr__cap_mim_m3, via3, -0.96, 8.1, 0.2, 0.2, 1, 5, 0, 0.4)
A(c_sky130_fd_pr__cap_mim_m3, via3, 4.1, 8.1, 0.2, 0.2, 1, 5, 0, 0.4)
A(c_sky130_fd_pr__cap_mim_m3, via3, -3.96, 8.3, 0.2, 0.2, 4, 4, 0.4, 0.4)
A(c_sky130_fd_pr__cap_mim_m3, via3, 1.1, 8.3, 0.2, 0.2, 4, 4, 0.4, 0.4)
A(c_sky130_fd_pr__cap_mim_m3, via3, -0.96, 11.7, 0.2, 0.2, 1, 5, 0, 0.4)
A(c_sky130_fd_pr__cap_mim_m3, via3, 4.1, 11.7, 0.2, 0.2, 1, 5, 0, 0.4)
A(c_sky130_fd_pr__cap_mim_m3, via3, -3.96, 11.9, 0.2, 0.2, 4, 4, 0.4, 0.4)
A(c_sky130_fd_pr__cap_mim_m3, via3, 1.1, 11.9, 0.2, 0.2, 4, 4, 0.4, 0.4)
A(c_sky130_fd_pr__cap_mim_m3, via3, -0.96, 15.3, 0.2, 0.2, 1, 5, 0, 0.4)
A(c_sky130_fd_pr__cap_mim_m3, via3, 4.1, 15.3, 0.2, 0.2, 1, 5, 0, 0.4)
A(c_sky130_fd_pr__cap_mim_m3, via3, -3.96, 15.5, 0.2, 0.2, 4, 4, 0.4, 0.4)
A(c_sky130_fd_pr__cap_mim_m3, via3, 1.1, 15.5, 0.2, 0.2, 4, 4, 0.4, 0.4)
A(c_sky130_fd_pr__cap_mim_m3, via3, -0.96, 18.9, 0.2, 0.2, 1, 5, 0, 0.4)
A(c_sky130_fd_pr__cap_mim_m3, via3, 4.1, 18.9, 0.2, 0.2, 1, 5, 0, 0.4)
A(c_sky130_fd_pr__cap_mim_m3, via3, -3.96, 19.1, 0.2, 0.2, 4, 4, 0.4, 0.4)
A(c_sky130_fd_pr__cap_mim_m3, via3, 1.1, 19.1, 0.2, 0.2, 4, 4, 0.4, 0.4)
A(c_sky130_fd_pr__cap_mim_m3, via3, -0.96, 22.5, 0.2, 0.2, 1, 5, 0, 0.4)
A(c_sky130_fd_pr__cap_mim_m3, via3, 4.1, 22.5, 0.2, 0.2, 1, 5, 0, 0.4)
A(c_sky130_fd_pr__cap_mim_m3, via3, -3.96, 22.7, 0.2, 0.2, 4, 4, 0.4, 0.4)
A(c_sky130_fd_pr__cap_mim_m3, via3, 1.1, 22.7, 0.2, 0.2, 4, 4, 0.4, 0.4)
A(c_sky130_fd_pr__cap_mim_m3, via3, -0.96, 26.1, 0.2, 0.2, 1, 5, 0, 0.4)
A(c_sky130_fd_pr__cap_mim_m3, via3, 4.1, 26.1, 0.2, 0.2, 1, 5, 0, 0.4)
A(c_sky130_fd_pr__cap_mim_m3, via3, -3.96, 26.3, 0.2, 0.2, 4, 4, 0.4, 0.4)
A(c_sky130_fd_pr__cap_mim_m3, via3, 1.1, 26.3, 0.2, 0.2, 4, 4, 0.4, 0.4)
A(c_sky130_fd_pr__cap_mim_m3, met4, -1.1, -28.14, 0.48, 2.28, 1, 16, 0, 3.6)
A(c_sky130_fd_pr__cap_mim_m3, met4, 3.96, -28.14, 0.48, 2.28, 1, 16, 0, 3.6)
A(c_sky130_fd_pr__cap_mim_m3, met4, -4.065, -27.805, 1.61, 1.61, 1, 16, 0, 3.6)
A(c_sky130_fd_pr__cap_mim_m3, met4, 0.995, -27.805, 1.61, 1.61, 1, 16, 0, 3.6)
A(c_sky130_fd_pr__cap_mim_m3, met4, -3.52, -26.195, 0.52, 1.99, 1, 15, 0, 3.6)
A(c_sky130_fd_pr__cap_mim_m3, met4, 1.54, -26.195, 0.52, 1.99, 1, 15, 0, 3.6)
R(c_sky130_fd_pr__cap_mim_m3, met4, [(-3.52,-28.8,-3,-27.805), (1.54,-28.8,2.06,-27.805), (-3.52,27.805,-3,28.8), (1.54,27.805,2.06,28.8)])
A(c_sky130_fd_pr__cap_mim_m3, capm, -4.26, -28, 2, 2, 1, 16, 0, 3.6)
A(c_sky130_fd_pr__cap_mim_m3, capm, 0.8, -28, 2, 2, 1, 16, 0, 3.6)
R(c_sky130_fd_pr__cap_mim_m3, boundary, [(0.6,25.8,3,28.2)])

cap_array_9b = lib.new_cell('cap_array_9b')
A(cap_array_9b, met1_pin, -80.02, -65.88, 0.52, 0.52, 1, 10, 0, 1.04)
A(cap_array_9b, met1, -240.22, -65.88, 160.72, 0.52, 1, 10, 0, 1.04)
R(cap_array_9b, met1, [(-161.01,-48,-155.37,-47.52), (-161.01,-37.2,-155.37,-36.72), (-161.01,-30,-155.37,-29.52), (-162.57,-28.74,-160.43,-28.26), (-163.37,-26.94,-155.37,-26.46), (-162.57,-25.14,-155.37,-24.66), (-164.17,-23.34,-160.43,-22.86), (-161.01,-19.2,-155.37,-18.72), (-161.01,-15.6,-155.37,-15.12), (-161.01,-4.8,-155.37,-4.32)])
R(cap_array_9b, via, [(-163.995,-65.695,-163.845,-65.545), (-163.195,-64.655,-163.045,-64.505), (-162.395,-63.615,-162.245,-63.465), (-158.935,-62.575,-158.785,-62.425), (-158.135,-61.535,-157.985,-61.385), (-157.335,-60.495,-157.185,-60.345), (-165.855,-59.455,-165.705,-59.305), (-150.675,-59.455,-150.525,-59.305), (-170.915,-58.415,-170.765,-58.265), (-145.615,-58.415,-145.465,-58.265), (-181.035,-57.375,-180.885,-57.225), (-135.495,-57.375,-135.345,-57.225), (-201.275,-56.335,-201.125,-56.185), (-115.255,-56.335,-115.105,-56.185), (-160.795,-47.835,-160.645,-47.685), (-157.335,-47.835,-157.185,-47.685), (-155.735,-47.835,-155.585,-47.685), (-160.795,-37.035,-160.645,-36.885), (-158.135,-37.035,-157.985,-36.885), (-155.735,-37.035,-155.585,-36.885), (-160.795,-29.835,-160.645,-29.685), (-158.935,-29.835,-158.785,-29.685), (-155.735,-29.835,-155.585,-29.685), (-162.395,-28.575,-162.245,-28.425), (-160.795,-28.575,-160.645,-28.425), (-163.195,-26.775,-163.045,-26.625), (-155.735,-26.775,-155.585,-26.625), (-162.395,-24.975,-162.245,-24.825), (-155.735,-24.975,-155.585,-24.825), (-163.995,-23.175,-163.845,-23.025), (-160.795,-23.175,-160.645,-23.025), (-160.795,-19.035,-160.645,-18.885), (-158.935,-19.035,-158.785,-18.885), (-155.735,-19.035,-155.585,-18.885), (-160.795,-15.435,-160.645,-15.285), (-158.135,-15.435,-157.985,-15.285), (-155.735,-15.435,-155.585,-15.285), (-160.795,-4.635,-160.645,-4.485), (-157.335,-4.635,-157.185,-4.485), (-155.735,-4.635,-155.585,-4.485)])
R(cap_array_9b, met2, [(-164.12,-65.93,-163.72,-22.83), (-163.32,-64.89,-162.92,-26.43), (-162.52,-63.85,-162.12,-24.63), (-159.06,-62.81,-158.66,-18.69), (-158.26,-61.77,-157.86,-15.09), (-157.46,-60.73,-157.06,-4.29), (-166.04,-59.69,-165.52,-59.07), (-150.86,-59.69,-150.34,-59.07), (-171.1,-58.65,-170.58,-58.03), (-145.8,-58.65,-145.28,-58.03), (-181.22,-57.61,-180.7,-56.99), (-135.68,-57.61,-135.16,-56.99), (-201.46,-56.57,-200.94,-55.95), (-115.44,-56.57,-114.92,-55.95), (-160.96,-48.05,-160.48,-47.47), (-155.9,-48.05,-155.42,-47.47), (-160.96,-37.25,-160.48,-36.67), (-155.9,-37.25,-155.42,-36.67), (-160.96,-30.05,-160.48,-29.47), (-155.9,-30.05,-155.42,-29.47), (-160.96,-28.79,-160.48,-28.21), (-155.9,-26.99,-155.42,-26.41), (-155.9,-25.19,-155.42,-24.61), (-160.96,-23.39,-160.48,-22.81), (-160.96,-19.25,-160.48,-18.67), (-155.9,-19.25,-155.42,-18.67), (-160.96,-15.65,-160.48,-15.07), (-155.9,-15.65,-155.42,-15.07), (-160.96,-4.85,-160.48,-4.27), (-155.9,-4.85,-155.42,-4.27)])
R(cap_array_9b, via2, [(-165.88,-59.48,-165.68,-59.28), (-150.7,-59.48,-150.5,-59.28), (-170.94,-58.44,-170.74,-58.24), (-145.64,-58.44,-145.44,-58.24), (-181.06,-57.4,-180.86,-57.2), (-135.52,-57.4,-135.32,-57.2), (-201.3,-56.36,-201.1,-56.16), (-115.28,-56.36,-115.08,-56.16), (-160.82,-47.86,-160.62,-47.66), (-155.76,-47.86,-155.56,-47.66), (-160.82,-37.06,-160.62,-36.86), (-155.76,-37.06,-155.56,-36.86), (-160.82,-29.86,-160.62,-29.66), (-155.76,-29.86,-155.56,-29.66), (-160.82,-28.6,-160.62,-28.4), (-155.76,-26.8,-155.56,-26.6), (-155.76,-25,-155.56,-24.8), (-160.82,-23.2,-160.62,-23), (-160.82,-19.06,-160.62,-18.86), (-155.76,-19.06,-155.56,-18.86), (-160.82,-15.46,-160.62,-15.26), (-155.76,-15.46,-155.56,-15.26), (-160.82,-4.66,-160.62,-4.46), (-155.76,-4.66,-155.56,-4.46)])
R(cap_array_9b, met3, [(-166.09,-59.665,-165.47,-59.095), (-150.91,-59.665,-150.29,-59.095), (-171.15,-58.625,-170.53,-58.055), (-145.85,-58.625,-145.23,-58.055), (-181.27,-57.585,-180.65,-57.015), (-135.73,-57.585,-135.11,-57.015), (-201.51,-56.545,-200.89,-55.975), (-115.49,-56.545,-114.87,-55.975), (-161.01,-48.025,-160.43,-47.495), (-155.95,-48.025,-155.37,-47.495), (-161.01,-37.225,-160.43,-36.695), (-155.95,-37.225,-155.37,-36.695), (-161.01,-30.025,-160.43,-29.495), (-155.95,-30.025,-155.37,-29.495), (-161.01,-28.765,-160.43,-28.235), (-155.95,-26.965,-155.37,-26.435), (-155.95,-25.165,-155.37,-24.635), (-161.01,-23.365,-160.43,-22.835), (-161.01,-19.225,-160.43,-18.695), (-155.95,-19.225,-155.37,-18.695), (-161.01,-15.625,-160.43,-15.095), (-155.95,-15.625,-155.37,-15.095), (-161.01,-4.825,-160.43,-4.295), (-155.95,-4.825,-155.37,-4.295)])
R(cap_array_9b, via3, [(-165.88,-59.48,-165.68,-59.28), (-150.7,-59.48,-150.5,-59.28), (-170.94,-58.44,-170.74,-58.24), (-145.64,-58.44,-145.44,-58.24), (-181.06,-57.4,-180.86,-57.2), (-135.52,-57.4,-135.32,-57.2), (-201.3,-56.36,-201.1,-56.16), (-115.28,-56.36,-115.08,-56.16), (-160.82,-47.86,-160.62,-47.66), (-155.76,-47.86,-155.56,-47.66), (-160.82,-37.06,-160.62,-36.86), (-155.76,-37.06,-155.56,-36.86), (-160.82,-29.86,-160.62,-29.66), (-155.76,-29.86,-155.56,-29.66), (-160.82,-19.06,-160.62,-18.86), (-155.76,-19.06,-155.56,-18.86), (-160.82,-15.46,-160.62,-15.26), (-155.76,-15.46,-155.56,-15.26), (-160.82,-4.66,-160.62,-4.46), (-155.76,-4.66,-155.56,-4.46)])
A(cap_array_9b, met4, -236.88, -55.12, 0.52, 0.52, 14, 1, 5.06, 0)
A(cap_array_9b, met4, -140.74, -55.12, 0.52, 1.04, 4, 1, 10.12, 0)
A(cap_array_9b, met4, -105.32, -55.12, 0.52, 1.04, 3, 1, 10.12, 0)
A(cap_array_9b, met4, -239.28, 3, 0.52, 0.52, 17, 1, 5.06, 0)
A(cap_array_9b, met4, -143.14, 3, 0.52, 0.52, 13, 1, 5.06, 0)
R(cap_array_9b, met4, [(-166.045,-59.645,-165.515,-59.115), (-150.865,-59.645,-150.335,-59.115), (-166.04,-59.115,-165.52,-54.6), (-150.86,-59.115,-150.34,-54.285), (-171.105,-58.605,-170.575,-58.075), (-145.805,-58.605,-145.275,-58.075), (-171.1,-58.075,-170.58,-55.64), (-145.8,-58.075,-145.28,-55.64), (-181.225,-57.565,-180.695,-57.035), (-135.685,-57.565,-135.155,-57.035), (-181.22,-57.035,-180.7,-55.64), (-135.68,-57.035,-135.16,-55.64), (-201.465,-56.525,-200.935,-55.995), (-115.445,-56.525,-114.915,-55.995), (-201.46,-55.995,-200.94,-55.64), (-115.44,-55.995,-114.92,-55.64), (-236.88,-55.64,-200.94,-55.12), (-196.4,-55.64,-180.7,-55.12), (-176.16,-55.64,-170.58,-55.12), (-145.8,-55.64,-140.22,-55.12), (-135.68,-55.64,-119.98,-55.12), (-115.44,-55.64,-79.5,-55.12), (-145.8,-55.12,-145.28,-54.6), (-135.68,-55.12,-135.16,-54.6), (-125.56,-55.12,-125.04,-54.05), (-115.44,-55.12,-114.92,-54.6), (-100.26,-55.12,-99.74,-54.055), (-90.14,-55.12,-89.62,-54.055), (-80.02,-55.12,-79.5,-54.08), (-160.96,-51.66,-160.48,-48.005), (-155.9,-51.66,-155.42,-48.005), (-160.965,-48.005,-160.475,-47.515), (-155.905,-48.005,-155.415,-47.515), (-160.96,-47.515,-160.48,-43.14), (-155.9,-47.515,-155.42,-43.14), (-160.96,-37.26,-160.48,-37.205), (-155.9,-37.26,-155.42,-37.205), (-160.965,-37.205,-160.475,-36.715), (-155.905,-37.205,-155.415,-36.715), (-160.96,-36.715,-160.48,-35.94), (-155.9,-36.715,-155.42,-35.94), (-160.96,-30.06,-160.48,-30.005), (-155.9,-30.06,-155.42,-30.005), (-160.965,-30.005,-160.475,-29.515), (-155.905,-30.005,-155.415,-29.515), (-160.96,-19.27,-160.48,-19.205), (-155.9,-19.26,-155.42,-19.205), (-160.965,-19.205,-160.475,-18.715), (-155.905,-19.205,-155.415,-18.715), (-160.96,-15.66,-160.48,-15.605), (-155.9,-15.66,-155.42,-15.605), (-160.965,-15.605,-160.475,-15.115), (-155.905,-15.605,-155.415,-15.115), (-160.96,-15.115,-160.48,-14.34), (-155.9,-15.115,-155.42,-14.34), (-160.96,-8.46,-160.48,-4.805), (-155.9,-8.46,-155.42,-4.805), (-160.965,-4.805,-160.475,-4.315), (-155.905,-4.805,-155.415,-4.315), (-160.96,-4.315,-160.48,0.06), (-155.9,-4.315,-155.42,0.06), (-153.26,2.275,-152.74,3.52), (-148.2,2.315,-147.68,3.52), (-240.22,3.52,-79.25,4.04)])
cap_array_9b.add(gdstk.Reference(sky130_fd_pr__cap_mim_m3, (-116.85,-25.8)))
cap_array_9b.add(gdstk.Reference(sky130_fd_pr__cap_mim_m3, (-202.87,-25.8)))
cap_array_9b.add(gdstk.Reference(c_sky130_fd_pr__cap_mim_m3, (-159.86,-25.8)))
cap_array_9b.add(gdstk.Label('S[8]', (-79.76,-64.58), layer=68, texttype=5))
cap_array_9b.add(gdstk.Label('S[7]', (-79.76,-63.54), layer=68, texttype=5))
cap_array_9b.add(gdstk.Label('S[6]', (-79.76,-62.5), layer=68, texttype=5))
cap_array_9b.add(gdstk.Label('S[5]', (-79.76,-61.46), layer=68, texttype=5))
cap_array_9b.add(gdstk.Label('S[4]', (-79.76,-60.42), layer=68, texttype=5))
cap_array_9b.add(gdstk.Label('S[3]', (-79.76,-59.38), layer=68, texttype=5))
cap_array_9b.add(gdstk.Label('S[2]', (-79.76,-58.34), layer=68, texttype=5))
cap_array_9b.add(gdstk.Label('S[1]', (-79.76,-57.3), layer=68, texttype=5))
cap_array_9b.add(gdstk.Label('S[0]', (-79.76,-56.26), layer=68, texttype=5))
cap_array_9b.add(gdstk.Label('VCM', (-79.76,-65.62), layer=68, texttype=5))

lib.write_gds('cap_array_9b.gds')
